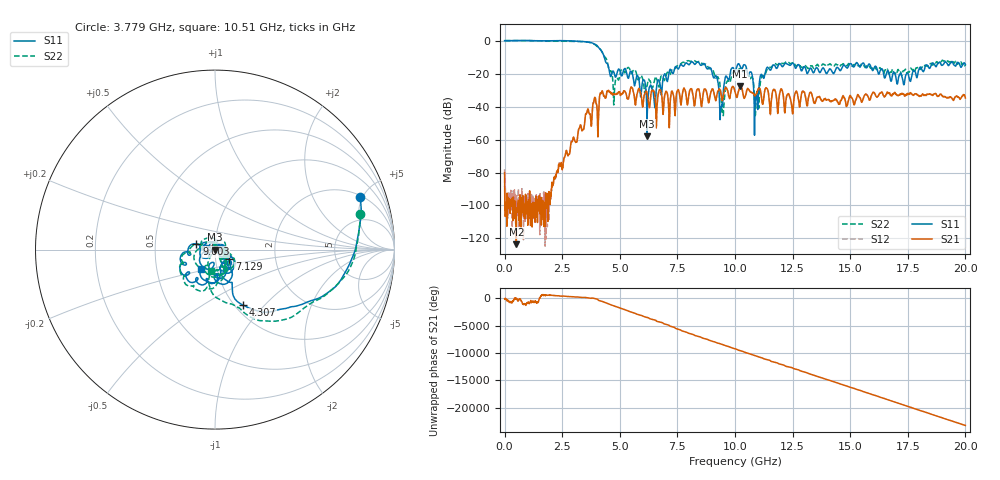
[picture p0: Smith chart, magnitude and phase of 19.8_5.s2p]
#  HZ  S  RI  R  50.00
! Rohde & Schwarz Vector Network Analyzer
! Rohde-Schwarz,ZNB20-2Port,1311601062102128,3.60
! Created: UTC 4/29/2024, 2:59:49 PM
! freq[Hz]  re:S11  im:S11  re:S21  im:S21  re:S12  im:S12  re:S22  im:S22
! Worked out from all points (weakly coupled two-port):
!   2007 points, 100 kHz to 20 GHz, reference 50 ohm
!   highest |S21| = -27.70 dB at 10.23 GHz (marker M1); lowest = -123.6 dB at 508.6 MHz (marker M2)
!   lowest |S11| = -58.2 dB at 6.182 GHz (marker M3), VSWR 1.00, Z = 50.1 - j0.000132 ohm
!   |S11| at or under -10 dB: 4.326 GHz to end of sweep
!   |S22| runs from -45.5 to 0.1 dB; largest |S21 - S12| = 0.0022
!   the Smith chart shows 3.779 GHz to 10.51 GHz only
!   S11 on the Smith chart (normalised r, x): 3.779 GHz: 2.08, +4.77; 4.307 GHz: 1.09, -0.77; 7.129 GHz: 1.16, -0.13; 9.003 GHz: 0.81, +0.05; 10.51 GHz: 0.83, -0.18
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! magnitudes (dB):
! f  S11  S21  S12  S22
! 100 kHz  0.0  -80.2  -78.1  0.1
! 508.6 MHz  0.0  -123.6  -96.7  0.0
! 2.233 GHz  0.0  -82.0  -82.1  -0.3
! 3.34 GHz  -0.6  -53.9  -53.6  -0.6
! 3.779 GHz  -1.3  -49.9  -50.1  -1.6
! 4.307 GHz  -9.2  -33.7  -34.0  -9.2
! 4.776 GHz  -20.7  -32.4  -32.4  -28.8
! 5.364 GHz  -22.8  -35.4  -35.4  -16.3
! 6.182 GHz  -58.2  -31.8  -31.8  -27.5
! 6.67 GHz  -23.7  -32.3  -32.3  -27.2
! 7.129 GHz  -20.4  -43.0  -43.0  -20.4
! 9.003 GHz  -19.3  -29.5  -29.5  -17.1
! 9.382 GHz  -40.5  -31.6  -31.7  -31.6
! 9.472 GHz  -36.8  -35.2  -35.3  -42.5
! 10 GHz  -18.7  -31.1  -31.1  -19.2
! 10.23 GHz  -15.8  -27.7  -27.7  -16.8
! 10.51 GHz  -17.5  -30.2  -30.2  -18.4
! 10.92 GHz  -33.7  -32.5  -32.4  -34.5
! 11.42 GHz  -16.2  -29.8  -29.8  -16.8
! 13.34 GHz  -18.0  -32.7  -32.7  -15.3
! 16.67 GHz  -19.1  -31.7  -31.8  -20.5
! 20 GHz  -14.6  -34.8  -34.9  -14.4
